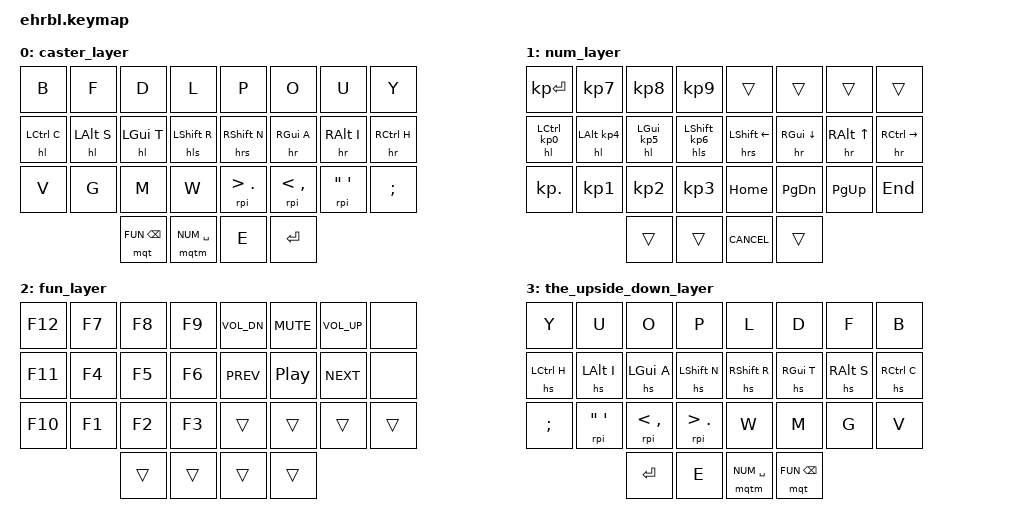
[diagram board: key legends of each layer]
/*
* Copyright (c) 2020 The ZMK Contributors
*
* SPDX-License-Identifier: MIT
*/

#define NUM 1
#define FUN 2
#define USD 3

#include <behaviors.dtsi>
#include <dt-bindings/zmk/keys.h>
#include <dt-bindings/zmk/bt.h>
#include <dt-bindings/zmk/outputs.h>
#include "28.h"
#include "zmk-helpers/helper.h"
#include <behaviors/num_word.dtsi>
#include "taps.dtsi"
#include "combos.dtsi"
#include "magic.dtsi"

&num_word {
  continue-list = <BSPC DEL DOT COMMA PLUS MINUS STAR FSLH EQUAL KP_MINUS KP_PLUS KP_DIVIDE KP_MULTIPLY KP_DOT>; 
};

/ {
	keymap {
		compatible = "zmk,keymap";
		caster_layer {
			bindings = <
			&kp B		 &kp F     		&kp D     	     &kp L       		&kp P     	 &kp O  	   &kp U  	   &kp Y  	
			&hl LCTRL C  &hl LALT S 	&hl LGUI T  	 &hls LSHFT R       &hrs RSHFT N &hr RGUI A    &hr RALT I  &hr RCTRL H
			&kp V		 &kp G 			&kp M     		 &kp W      		&rpi GT DOT  &rpi LT COMMA &rpi DQT SQT &kp SEMI  		 
										&mqt FUN BSPC    &mqtm NUM SPACE    &kp E        &kp RET   
			>;
		};
		num_layer {
			bindings = < 
			&kp KP_ENTER    &kp KP_N7      &kp KP_N8      &kp KP_N9          &trans  		 &trans		   &trans 	    &trans
			&hl LCTRL KP_N0 &hl LALT KP_N4 &hl LGUI KP_N5 &hls LSHFT KP_N6   &hrs LSHFT LEFT &hr RGUI DOWN &hr RALT UP  &hr RCTRL RIGHT
			&kp KP_DOT      &kp KP_N1      &kp KP_N2      &kp KP_N3          &kp HOME  		 &kp PG_DN     &kp PG_UP    &kp END
										   &trans 	      &trans             &kp K_CANCEL    &trans 			    
			>;
		};
		fun_layer {
			bindings = <
			&kp F12  &kp F7	 &kp F8	 &kp F9    &kp C_VOL_DN		&kp C_MUTE 	  &kp C_VOL_UP    &none		
			&kp F11  &kp F4  &kp F5  &kp F6    &kp C_PREV   	&kp C_PP 	  &kp C_NEXT 	  &none
			&kp F10	 &kp F1  &kp F2  &kp F3    &trans  			&trans		  &trans 		  &trans
							 &trans  &trans    &trans   		&trans
			>;
		};
		the_upside_down_layer {
			bindings = <
			&kp Y		 &kp U     		&kp O     	     &kp P       		&kp L     	 &kp D  	   &kp F  	   &kp B  	
			&hs LCTRL H  &hs LALT I 	&hs LGUI A  	 &hs LSHFT N        &hs RSHFT R  &hs RGUI T    &hs RALT S  &hs RCTRL C
			&kp SEMI     &rpi DQT SQT   &rpi LT COMMA    &rpi GT DOT        &kp W      	 &kp M  	   &kp G 	   &kp V		 		   		 	 
										&kp RET  		 &kp E     			&mqtm NUM SPACE &mqt FUN BSPC           
			>;
		};
	};
};
